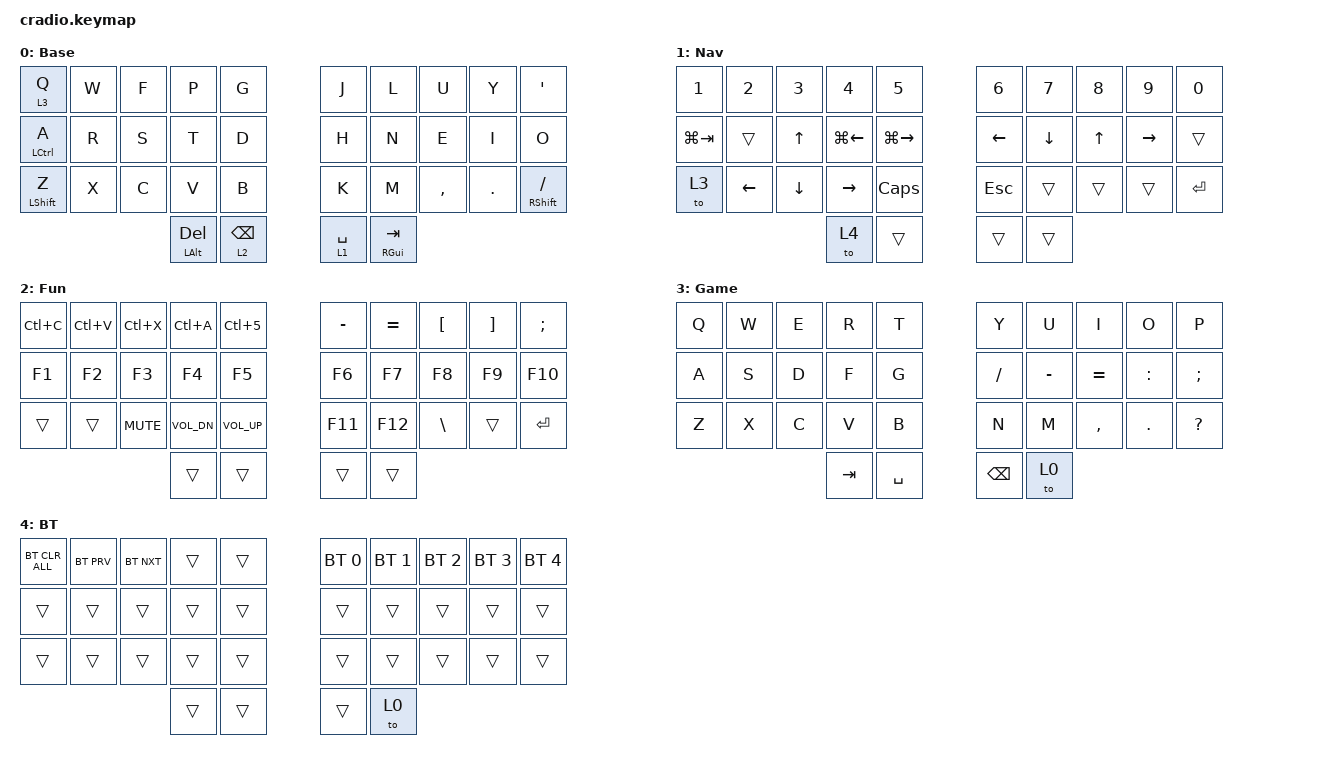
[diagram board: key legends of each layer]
// Copyright (c) 2022 The ZMK Contributors
// SPDX-License-Identifier: MIT

#define ZMK_POINTING_DEFAULT_MOVE_VAL 2500  // 600
#define ZMK_POINTING_DEFAULT_SCRL_VAL 20    // 10

#include <behaviors.dtsi>
#include <dt-bindings/zmk/bt.h>
#include <dt-bindings/zmk/keys.h>

#define MAC 0
#define WIN 1
#define RIG 2
#define LEF 3
#define TRI 4
#define MOUSE 5

/ {
    chosen { zmk,charmap = &charmap_us; };

    behaviors {
        mmv {
            acceleration-exponent = <1>;      // 1
            time-to-max-speed-ms = <300>;    // 40
            delay-ms = <0>;                   // 0
        };

        msc {
            acceleration-exponent = <0>;      // 0
            time-to-max-speed-ms = <40>;      // 500
            delay-ms = <0>;                   // 10
        };
    };

    conditional_layers { compatible = "zmk,conditional-layers"; };

    keymap {
        compatible = "zmk,keymap";

        Base {
            display-name = "Base";
            bindings = <
&lt 3 Q           &kp W  &kp F  &kp P                &kp G              &kp J        &kp L              &kp U      &kp Y    &kp SQT
&mt LCTRL A       &kp R  &kp S  &kp T                &kp D              &kp H        &kp N              &kp E      &kp I    &kp O
&mt LEFT_SHIFT Z  &kp X  &kp C  &kp V                &kp B              &kp K        &kp M              &kp COMMA  &kp DOT  &mt RIGHT_SHIFT SLASH
                                &mt LEFT_ALT DELETE  &lt 2 BACKSPACE    &lt 1 SPACE  &mt RIGHT_GUI TAB
            >;
        };

        Navigation {
            display-name = "Nav";
            bindings = <
&kp NUMBER_1  &kp NUMBER_2  &kp NUMBER_3    &kp NUMBER_4  &kp N5           &kp NUMBER_6  &kp N7          &kp N8        &kp N9     &kp N0
&kp LG(TAB)   &trans        &kp UP_ARROW    &kp LG(LEFT)  &kp LG(RIGHT)    &kp LEFT      &kp DOWN_ARROW  &kp UP_ARROW  &kp RIGHT  &trans
&to 3         &kp LEFT      &kp DOWN_ARROW  &kp RIGHT     &kp CLCK         &kp ESCAPE    &trans          &trans        &trans     &kp ENTER
                                            &to 4         &trans           &trans        &trans
            >;
        };

        Function {
            display-name = "Fun";
            bindings = <
&kp LC(C)  &kp LC(V)  &kp LC(X)   &kp LC(A)     &kp LC(N5)      &kp MINUS  &kp EQUAL  &kp LEFT_BRACKET  &kp RIGHT_BRACKET  &kp SEMICOLON
&kp F1     &kp F2     &kp F3      &kp F4        &kp F5          &kp F6     &kp F7     &kp F8            &kp F9             &kp F10
&trans     &trans     &kp K_MUTE  &kp C_VOL_DN  &kp C_VOL_UP    &kp F11    &kp F12    &kp BACKSLASH     &trans             &kp ENTER
                                  &trans        &trans          &trans     &trans
            >;
        };

        Gaming {
            display-name = "Game";
            bindings = <
&kp Q  &kp W  &kp E  &kp R    &kp T        &kp Y          &kp U      &kp I      &kp O       &kp P
&kp A  &kp S  &kp D  &kp F    &kp G        &kp FSLH       &kp MINUS  &kp EQUAL  &kp COLON   &kp SEMI
&kp Z  &kp X  &kp C  &kp V    &kp B        &kp N          &kp M      &kp COMMA  &kp PERIOD  &kp QMARK
                     &kp TAB  &kp SPACE    &kp BACKSPACE  &to 0
            >;
        };

        Bluetooth {
            bindings = <
&bt BT_CLR_ALL  &bt BT_PRV  &bt BT_NXT  &trans  &trans    &bt BT_SEL 0  &bt BT_SEL 1  &bt BT_SEL 2  &bt BT_SEL 3  &bt BT_SEL 4
&trans          &trans      &trans      &trans  &trans    &trans        &trans        &trans        &trans        &trans
&trans          &trans      &trans      &trans  &trans    &trans        &trans        &trans        &trans        &trans
                                        &trans  &trans    &trans        &to 0
            >;

            label = "BT";
        };
    };
};
